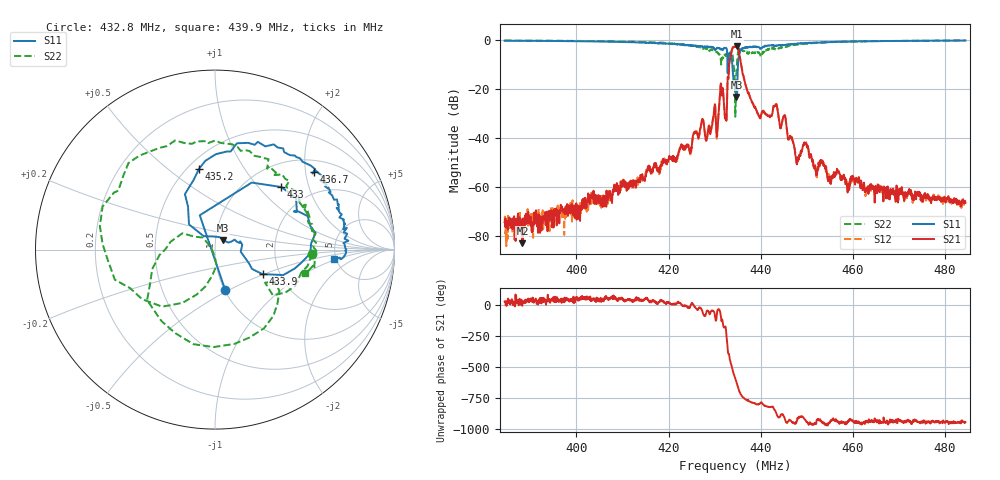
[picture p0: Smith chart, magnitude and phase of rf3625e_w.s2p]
!Keysight Technologies,E5080A,MY55200989,A.11.70.00
!Date: Wednesday, May 15, 2019 11:39:58
!Correction: S11(Full 2 Port(1,2))
!S21(Full 2 Port(1,2))
!S12(Full 2 Port(1,2))
!S22(Full 2 Port(1,2))
!S2P File: Measurements: S11, S21, S12, S22:
# Hz S  dB  R 50
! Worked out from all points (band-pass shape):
!   1601 points, 384.4 MHz to 484.4 MHz, reference 50 ohm
!   highest |S21| = -2.44 dB at 434.8 MHz (marker M1); lowest = -83.0 dB at 388.3 MHz (marker M2)
!   |S21| within 3 dB of the highest: 433.5859 MHz to 435.3199 MHz (1.734 MHz wide, 0.399 % of centre)
!   lowest |S11| = -23.2 dB at 434.7 MHz (marker M3), VSWR 1.15, Z = 54.5 + j5.7 ohm
!   |S11| at or under -10 dB: 432.7709 MHz to 432.8938 MHz (122.9 kHz wide, 0.0284 % of centre); 433.8358 MHz to 435.0771 MHz (1.241 MHz wide, 0.286 % of centre)
!   |S22| runs from -31.2 to -0.1 dB; largest |S21 - S12| = 0.0084
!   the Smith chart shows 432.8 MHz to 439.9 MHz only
!   S11 on the Smith chart (normalised r, x): 432.8 MHz: 1.01, -0.48; 433 MHz: 1.43, +1.34; 433.9 MHz: 1.63, -0.49; 435.2 MHz: 0.57, +0.65; 436.7 MHz: 1.32, +2.22; 439.9 MHz: 4.79, -0.90
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3.8442e8  -0.22 -166.7  -74.38 28.2  -74.39 8.5  -0.16 -164.5
3.88295e8  -0.26 -169.6  -82.96 14.0  -75.38 28.2  -0.18 -166.4
4.011075e8  -0.48 177.1  -69.38 45.3  -67.97 60.7  -0.32 -174.9
4.17795e8  -1.21 139.1  -53.83 22.9  -53.55 16.0  -0.98 160.1
4.294825e8  -3.03 62.6  -34.67 -45.6  -33.62 -44.5  -3.94 89.7
4.32795e8  -12.61 -75.7  -17.44 29.5  -17.45 29.5  -5.32 -2.5
4.329825e8  -5.88 43.3  -15.89 -32.7  -15.93 -32.5  -6.19 -24.5
4.338575e8  -10.50 -27.3  -3.45 -155.7  -3.43 -155.7  -6.06 -126.9
4.3442e8  -16.95 14.9  -2.64 135.5  -2.63 135.2  -20.43 135.5
4.347325e8  -23.15 48.4  -2.50 99.7  -2.49 99.6  -13.39 -104.9
4.34795e8  -22.61 69.1  -2.44 91.5  -2.44 91.6  -11.36 -112.1
4.352325e8  -6.75 101.1  -4.43 38.8  -4.42 38.7  -4.05 177.0
4.3592e8  -3.51 58.5  -11.62 -13.1  -11.81 -13.1  -3.78 110.0
4.3667e8  -3.11 38.1  -17.96 -38.5  -17.92 -38.9  -4.74 72.9
4.398575e8  -3.54 -4.5  -31.81 -72.7  -31.91 -74.2  -5.68 -14.5
4.432325e8  -2.34 -27.8  -26.21 -137.5  -26.38 -137.6  -3.70 -51.1
4.4792e8  -1.40 -51.5  -49.92 151.2  -49.41 155.4  -1.73 -77.2
4.4967e8  -1.16 -58.8  -42.22 154.5  -41.70 154.9  -1.44 -85.2
4.511075e8  -1.11 -63.5  -48.95 115.9  -49.22 118.9  -1.16 -90.0
4.549825e8  -0.79 -75.4  -56.51 132.1  -56.95 129.5  -0.86 -101.6
4.67795e8  -0.36 -98.7  -63.32 131.2  -63.76 137.4  -0.32 -120.7
4.8442e8  -0.16 -113.7  -66.29 136.0  -66.77 133.7  -0.12 -132.0
